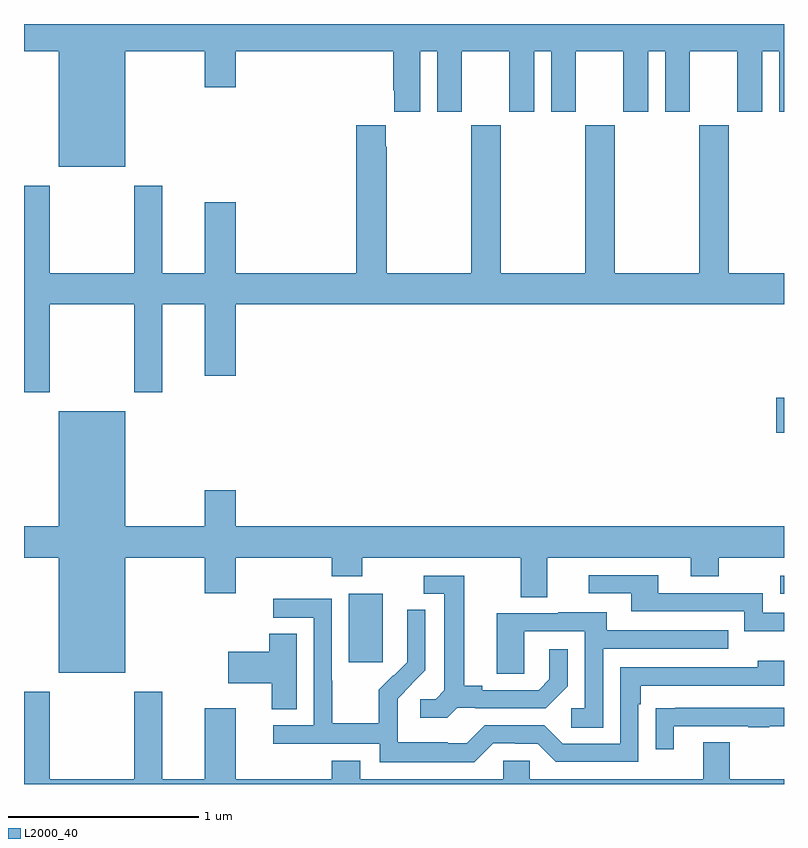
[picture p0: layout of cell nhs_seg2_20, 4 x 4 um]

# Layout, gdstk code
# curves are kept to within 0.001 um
import gdstk
lib = gdstk.Library(unit=1e-6, precision=1e-09)
def R(c, l, rs):  # rectangles x0, y0, x1, y1
    for r in rs: c.add(gdstk.rectangle(r[:2], r[2:], *l))
def P(c, l, *ps):  # polygons
    for p in ps: c.add(gdstk.Polygon(p, *l))
L2000_40 = (2000, 40)

nhs_seg2_20 = lib.new_cell('nhs_seg2_20')
R(nhs_seg2_20, L2000_40, [(112.709,624.441,112.888,624.802), (114.981,624.801,115,624.897), (114.96,625.649,115,625.832)])
P(nhs_seg2_20, L2000_40, [(111.532,627.656),(111.95,627.656),(111.95,627.468),(112.114,627.468),(112.114,627.656),(112.943,627.656),(112.943,627.451),(112.949,627.451),(112.949,627.339),(113.086,627.339),(113.086,627.656),(113.174,627.656),(113.174,627.339),(113.305,627.339),(113.305,627.656),(113.555,627.656),(113.555,627.339),(113.686,627.339),(113.686,627.656),(113.774,627.656),(113.774,627.339),(113.905,627.339),(113.905,627.656),(114.155,627.656),(114.155,627.339),(114.286,627.339),(114.286,627.656),(114.374,627.656),(114.374,627.339),(114.505,627.339),(114.505,627.656),(114.755,627.656),(114.755,627.339),(114.886,627.339),(114.886,627.656),(114.974,627.656),(114.974,627.339),(115,627.339),(115,627.8),(111,627.8),(111,627.656),(111.182,627.656),(111.182,627.05),(111.532,627.05)],
  [(111.135,626.324),(111.58,626.324),(111.58,625.863),(111.727,625.863),(111.727,626.324),(111.95,626.324),(111.95,625.95),(112.114,625.95),(112.114,626.324),(115,626.324),(115,626.488),(114.708,626.488),(114.708,627.268),(114.553,627.268),(114.553,626.488),(114.108,626.488),(114.108,627.268),(113.953,627.268),(113.953,626.488),(113.508,626.488),(113.508,627.268),(113.353,627.268),(113.353,626.488),(112.908,626.488),(112.908,627.155),(112.903,627.155),(112.903,627.268),(112.748,627.268),(112.748,626.488),(112.114,626.488),(112.114,626.863),(111.95,626.863),(111.95,626.488),(111.727,626.488),(111.727,626.95),(111.58,626.95),(111.58,626.488),(111.135,626.488),(111.135,626.95),(111,626.95),(111,625.863),(111.135,625.863)],
  [(111.532,624.992),(111.95,624.992),(111.95,624.804),(112.114,624.804),(112.114,624.992),(112.619,624.992),(112.619,624.893),(112.779,624.893),(112.779,624.992),(113.615,624.992),(113.615,624.784),(113.755,624.784),(113.755,624.992),(114.509,624.992),(114.509,624.893),(114.657,624.893),(114.657,624.992),(115,624.992),(115,625.156),(112.114,625.156),(112.114,625.345),(111.95,625.345),(111.95,625.156),(111.532,625.156),(111.532,625.762),(111.182,625.762),(111.182,625.156),(111,625.156),(111,624.992),(111.182,624.992),(111.182,624.386),(111.532,624.386)],
  [(115,624.702),(114.888,624.702),(114.888,624.804),(114.337,624.804),(114.337,624.9),(113.973,624.9),(113.973,624.804),(114.197,624.804),(114.197,624.708),(114.792,624.708),(114.792,624.605),(115,624.605)],
  [(113.28,624.201),(113.374,624.201),(113.374,624.198),(113.746,624.198),(113.862,624.314),(113.862,624.508),(113.765,624.508),(113.765,624.351),(113.708,624.294),(113.413,624.294),(113.413,624.317),(113.317,624.317),(113.317,624.897),(113.103,624.897),(113.103,624.801),(113.213,624.801),(113.213,624.293),(113.166,624.246),(113.085,624.246),(113.085,624.149),(113.228,624.149)],
  [(113.469,624.015),(113.585,624.015),(113.585,624.012),(113.703,624.012),(113.799,623.916),(114.234,623.916),(114.234,624.221),(114.247,624.221),(114.247,624.318),(115,624.318),(115,624.448),(114.863,624.448),(114.863,624.414),(114.138,624.414),(114.138,624.012),(113.835,624.012),(113.739,624.108),(113.424,624.108),(113.331,624.015),(113.231,624.015),(113.231,624.019),(112.968,624.019),(112.968,624.153),(112.966,624.153),(112.966,624.25),(113.112,624.398),(113.112,624.716),(113.016,624.716),(113.016,624.562),(113.018,624.562),(113.018,624.44),(112.947,624.369),(112.944,624.372),(112.867,624.295),(112.867,624.121),(112.623,624.121),(112.623,624.344),(112.62,624.344),(112.62,624.774),(112.311,624.774),(112.311,624.675),(112.524,624.675),(112.524,624.108),(112.311,624.108),(112.311,624.012),(112.872,624.012),(112.872,623.915),(113.369,623.915)],
  [(114.048,624.513),(114.707,624.513),(114.707,624.609),(114.067,624.609),(114.067,624.703),(113.813,624.703),(113.813,624.699),(113.489,624.699),(113.489,624.379),(113.634,624.379),(113.634,624.603),(113.952,624.603),(113.952,624.198),(113.88,624.198),(113.88,624.097),(114.048,624.097)],
  [(112.435,624.59),(112.292,624.59),(112.292,624.495),(112.074,624.495),(112.074,624.329),(112.304,624.329),(112.304,624.193),(112.435,624.193)],
  [(115,623.824),(114.715,623.824),(114.715,624.019),(114.575,624.019),(114.575,623.824),(113.661,623.824),(113.661,623.922),(113.523,623.922),(113.523,623.824),(112.771,623.824),(112.771,623.923),(112.619,623.923),(112.619,623.824),(112.114,623.824),(112.114,624.199),(111.95,624.199),(111.95,623.824),(111.727,623.824),(111.727,624.286),(111.58,624.286),(111.58,623.824),(111.135,623.824),(111.135,624.286),(111,624.286),(111,623.8),(115,623.8)],
  [(114.421,624.105),(114.811,624.105),(114.811,624.1),(114.923,624.1),(114.923,624.105),(115,624.105),(115,624.201),(114.427,624.201),(114.427,624.2),(114.325,624.2),(114.325,623.982),(114.421,623.982)])

lib.write_gds('nhs_seg2_20.gds')
